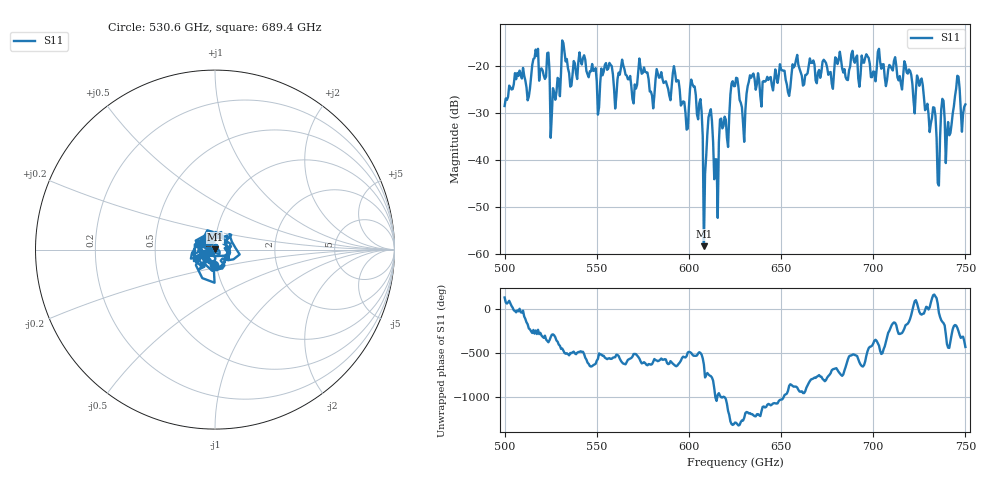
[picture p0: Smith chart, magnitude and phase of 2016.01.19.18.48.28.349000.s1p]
!Created with skrf (http://scikit-rf.org).
# GHz S RI R 50.0
!freq ReS11 ImS11
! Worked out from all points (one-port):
!   401 points, 500 GHz to 750 GHz, reference 50 ohm
!   lowest |S11| = -58.3 dB at 608.1 GHz (marker M1), VSWR 1.00, Z = 50 + j0.121 ohm
!   |S11| at or under -10 dB: start of sweep to end of sweep
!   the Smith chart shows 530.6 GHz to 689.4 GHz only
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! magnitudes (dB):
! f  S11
! 500 GHz  -28.6
! 513.1 GHz  -26.6
! 516.9 GHz  -16.6
! 523.1 GHz  -17.4
! 526.2 GHz  -24.8
! 531.2 GHz  -14.7
! 550.6 GHz  -30.4
! 562.5 GHz  -21.9
! 593.8 GHz  -23.1
! 598.8 GHz  -33.6
! 602.5 GHz  -24.4
! 606.2 GHz  -27.1
! 608.1 GHz  -58.3
! 611.2 GHz  -30.1
! 615 GHz  -39.9
! 617.5 GHz  -31.3
! 625 GHz  -24.4
! 629.4 GHz  -32.3
! 633.8 GHz  -22.6
! 656.2 GHz  -19.7
! 687.5 GHz  -20.1
! 718.8 GHz  -21.7
! 733.1 GHz  -28.9
! 735 GHz  -44.9
! 737.5 GHz  -27.1
! 740.6 GHz  -32.0
! 745.6 GHz  -22.2
! 750 GHz  -28.2
